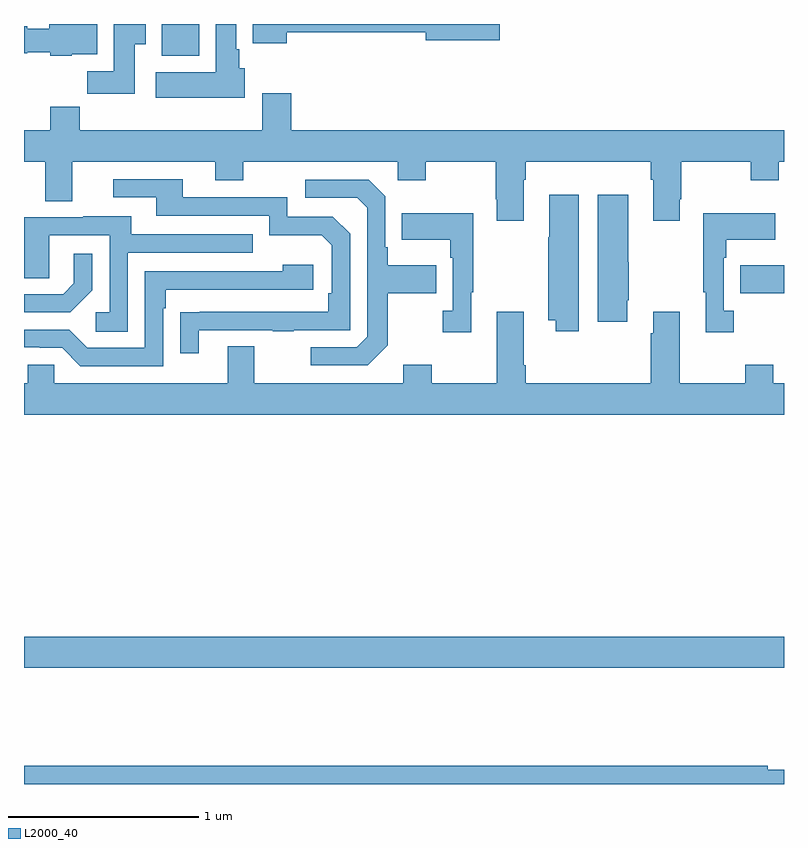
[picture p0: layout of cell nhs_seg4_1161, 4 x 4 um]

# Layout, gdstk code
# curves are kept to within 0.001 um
import gdstk
lib = gdstk.Library(unit=1e-6, precision=1e-09)
def R(c, l, rs):  # rectangles x0, y0, x1, y1
    for r in rs: c.add(gdstk.rectangle(r[:2], r[2:], *l))
def P(c, l, *ps):  # polygons
    for p in ps: c.add(gdstk.Polygon(p, *l))
L2000_40 = (2000, 40)

nhs_seg4_1161 = lib.new_cell('nhs_seg4_1161')
R(nhs_seg4_1161, L2000_40, [(171,771.512,175,771.676), (174.769,773.482,175,773.629), (171.725,774.734,171.922,774.9)])
P(nhs_seg4_1161, L2000_40, [(171.583,774.793),(171.64,774.793),(171.64,774.9),(171.473,774.9),(171.473,774.652),(171.334,774.652),(171.334,774.534),(171.583,774.534)],
  [(172.384,774.856),(173.114,774.856),(173.114,774.814),(173.503,774.814),(173.503,774.9),(172.205,774.9),(172.205,774.8),(172.384,774.8)],
  [(171.252,774.74),(171.385,774.74),(171.385,774.9),(171.134,774.9),(171.134,774.874),(171.018,774.874),(171.018,774.887),(171,774.887),(171,774.745),(171.018,774.745),(171.018,774.752),(171.138,774.752),(171.138,774.734),(171.252,774.734)],
  [(172.162,774.666),(172.132,774.666),(172.132,774.766),(172.117,774.766),(172.117,774.9),(172.01,774.9),(172.01,774.646),(171.693,774.646),(171.693,774.512),(172.162,774.512)],
  [(173.629,774.08),(173.642,774.08),(173.642,774.176),(174.299,774.176),(174.299,774.08),(174.311,774.08),(174.311,773.865),(174.451,773.865),(174.451,773.977),(174.459,773.977),(174.459,774.176),(174.826,774.176),(174.826,774.077),(174.972,774.077),(174.972,774.176),(175,774.176),(175,774.34),(172.406,774.34),(172.406,774.535),(172.253,774.535),(172.253,774.34),(171.293,774.34),(171.293,774.464),(171.137,774.464),(171.137,774.34),(171,774.34),(171,774.176),(171.113,774.176),(171.113,773.968),(171.253,773.968),(171.253,774.176),(172.007,774.176),(172.007,774.077),(172.155,774.077),(172.155,774.176),(172.968,774.176),(172.968,774.077),(173.115,774.077),(173.115,774.176),(173.482,774.176),(173.482,773.977),(173.489,773.977),(173.489,773.865),(173.629,773.865)],
  [(171.919,773.289),(172.309,773.289),(172.309,773.284),(172.421,773.284),(172.421,773.289),(172.716,773.289),(172.716,773.796),(172.626,773.886),(172.386,773.886),(172.386,773.988),(171.835,773.988),(171.835,774.084),(171.471,774.084),(171.471,773.988),(171.695,773.988),(171.695,773.892),(172.29,773.892),(172.29,773.789),(172.567,773.789),(172.62,773.736),(172.62,773.482),(172.6,773.482),(172.6,773.385),(171.823,773.384),(171.823,773.166),(171.919,773.166)],
  [(172.915,773.209),(172.915,773.482),(173.171,773.482),(173.171,773.629),(172.915,773.629),(172.915,773.725),(172.902,773.725),(172.902,773.994),(172.815,774.081),(172.479,774.081),(172.479,773.985),(172.755,773.985),(172.806,773.934),(172.806,773.253),(172.752,773.199),(172.509,773.199),(172.509,773.103),(172.809,773.103)],
  [(173.92,774.001),(173.765,774.001),(173.765,773.777),(173.758,773.777),(173.758,773.342),(173.798,773.342),(173.798,773.283),(173.92,773.283)],
  [(174.175,773.446),(174.183,773.446),(174.183,773.646),(174.181,773.646),(174.181,774.001),(174.02,774.001),(174.02,773.334),(174.175,773.334)],
  [(174.736,773.39),(174.684,773.39),(174.684,773.669),(174.697,773.669),(174.697,773.765),(174.953,773.765),(174.953,773.905),(174.576,773.905),(174.576,773.489),(174.587,773.489),(174.587,773.277),(174.736,773.277)],
  [(173.353,773.489),(173.365,773.489),(173.365,773.905),(172.987,773.905),(172.987,773.765),(173.244,773.765),(173.244,773.669),(173.256,773.669),(173.256,773.39),(173.205,773.39),(173.205,773.277),(173.353,773.277)],
  [(171.546,773.697),(172.205,773.697),(172.205,773.793),(171.565,773.793),(171.565,773.887),(171.311,773.887),(171.311,773.883),(171,773.883),(171,773.563),(171.132,773.563),(171.132,773.787),(171.45,773.787),(171.45,773.382),(171.378,773.382),(171.378,773.281),(171.546,773.281)],
  [(171.36,773.498),(171.36,773.692),(171.263,773.692),(171.263,773.535),(171.206,773.478),(171,773.478),(171,773.382),(171.244,773.382)],
  [(171.732,773.405),(171.745,773.405),(171.745,773.502),(172.522,773.502),(172.522,773.632),(172.361,773.632),(172.361,773.598),(171.636,773.598),(171.636,773.196),(171.333,773.196),(171.237,773.292),(171,773.292),(171,773.199),(171.083,773.199),(171.083,773.196),(171.201,773.196),(171.297,773.1),(171.732,773.1)],
  [(175,773.008),(174.943,773.008),(174.943,773.107),(174.796,773.107),(174.796,773.008),(174.451,773.008),(174.451,773.386),(174.311,773.386),(174.311,773.273),(174.299,773.273),(174.299,773.008),(173.642,773.008),(173.642,773.104),(173.629,773.104),(173.629,773.386),(173.489,773.386),(173.489,773.008),(173.145,773.008),(173.145,773.107),(172.997,773.107),(172.997,773.008),(172.213,773.008),(172.213,773.203),(172.073,773.203),(172.073,773.008),(171.159,773.008),(171.159,773.106),(171.021,773.106),(171.021,773.008),(171,773.008),(171,772.844),(175,772.844)],
  [(175,770.976),(174.914,770.976),(174.914,770.996),(171,770.996),(171,770.9),(175,770.9)])

lib.write_gds('nhs_seg4_1161.gds')
